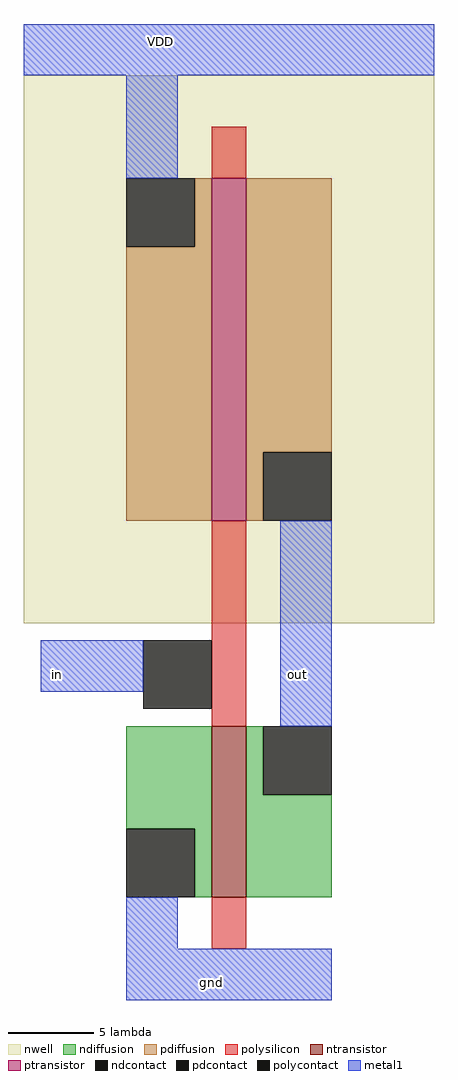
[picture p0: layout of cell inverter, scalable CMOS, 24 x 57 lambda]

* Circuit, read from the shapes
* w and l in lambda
.subckt inverter VDD gnd in out
M1 out in gnd VSUBS nfet w=10 l=2
M2 out in VDD n1 pfet w=20 l=2
.ends

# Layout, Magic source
magic
tech scmos
<< nwell >>
rect -49 -95 -25 -63
<< ntransistor >>
rect -38 -111 -36 -101
<< ptransistor >>
rect -38 -89 -36 -69
<< ndiffusion >>
rect -43 -107 -38 -101
rect -39 -111 -38 -107
rect -36 -105 -35 -101
rect -36 -111 -31 -105
<< pdiffusion >>
rect -39 -73 -38 -69
rect -43 -89 -38 -73
rect -36 -85 -31 -69
rect -36 -89 -35 -85
<< ndcontact >>
rect -43 -111 -39 -107
rect -35 -105 -31 -101
<< pdcontact >>
rect -43 -73 -39 -69
rect -35 -89 -31 -85
<< polysilicon >>
rect -38 -69 -36 -66
rect -38 -101 -36 -89
rect -38 -114 -36 -111
<< polycontact >>
rect -42 -100 -38 -96
<< metal1 >>
rect -49 -63 -25 -60
rect -43 -69 -40 -63
rect -48 -99 -42 -96
rect -34 -101 -31 -89
rect -43 -114 -40 -111
rect -43 -117 -31 -114
<< labels >>
rlabel metal1 -41 -61 -41 -61 5 VDD
rlabel metal1 -38 -116 -38 -116 1 gnd
rlabel metal1 -47 -98 -47 -98 3 in
rlabel metal1 -33 -98 -33 -98 1 out
<< end >>
